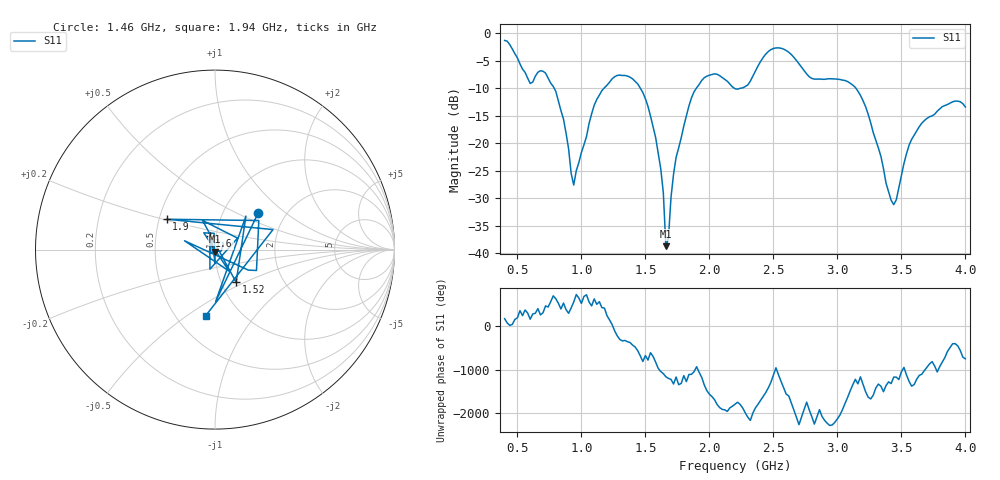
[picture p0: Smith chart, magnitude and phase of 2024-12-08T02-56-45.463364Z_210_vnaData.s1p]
!Created with skrf (http://scikit-rf.org).
# Hz S RI R 50.0
!freq ReS11 ImS11
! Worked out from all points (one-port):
!   181 points, 400 MHz to 4 GHz, reference 50 ohm
!   lowest |S11| = -38.7 dB at 1.66 GHz (marker M1), VSWR 1.02, Z = 50.1 - j1.16 ohm
!   |S11| at or under -10 dB: 787.1 MHz to 1.177 GHz (389.9 MHz wide, 39.7 % of centre); 1.461 GHz to 1.898 GHz (437.6 MHz wide, 26.1 % of centre); 3.144 GHz to end of sweep (the widest 3 of 4)
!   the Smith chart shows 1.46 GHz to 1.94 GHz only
!   S11 on the Smith chart (normalised r, x): 1.46 GHz: 1.46, +0.67; 1.52 GHz: 1.17, -0.45; 1.6 GHz: 0.93, +0.14; 1.9 GHz: 0.55, +0.21; 1.94 GHz: 0.69, -0.59
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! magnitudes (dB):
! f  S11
! 400 MHz  -1.3
! 600 MHz  -9.1
! 720 MHz  -7.3
! 860 MHz  -15.6
! 940 MHz  -27.6
! 1.1 GHz  -13.1
! 1.3 GHz  -7.6
! 1.46 GHz  -10.0
! 1.52 GHz  -13.3
! 1.6 GHz  -21.8
! 1.64 GHz  -29.0
! 1.66 GHz  -38.7
! 1.68 GHz  -37.2
! 1.72 GHz  -25.6
! 1.76 GHz  -20.8
! 1.9 GHz  -9.9
! 1.94 GHz  -8.6
! 2.2 GHz  -10.1
! 2.3 GHz  -9.4
! 2.48 GHz  -3.0
! 2.66 GHz  -4.4
! 2.8 GHz  -8.2
! 3.1 GHz  -9.1
! 3.22 GHz  -13.3
! 3.44 GHz  -31.1
! 3.56 GHz  -20.4
! 3.82 GHz  -13.3
! 4 GHz  -13.4
